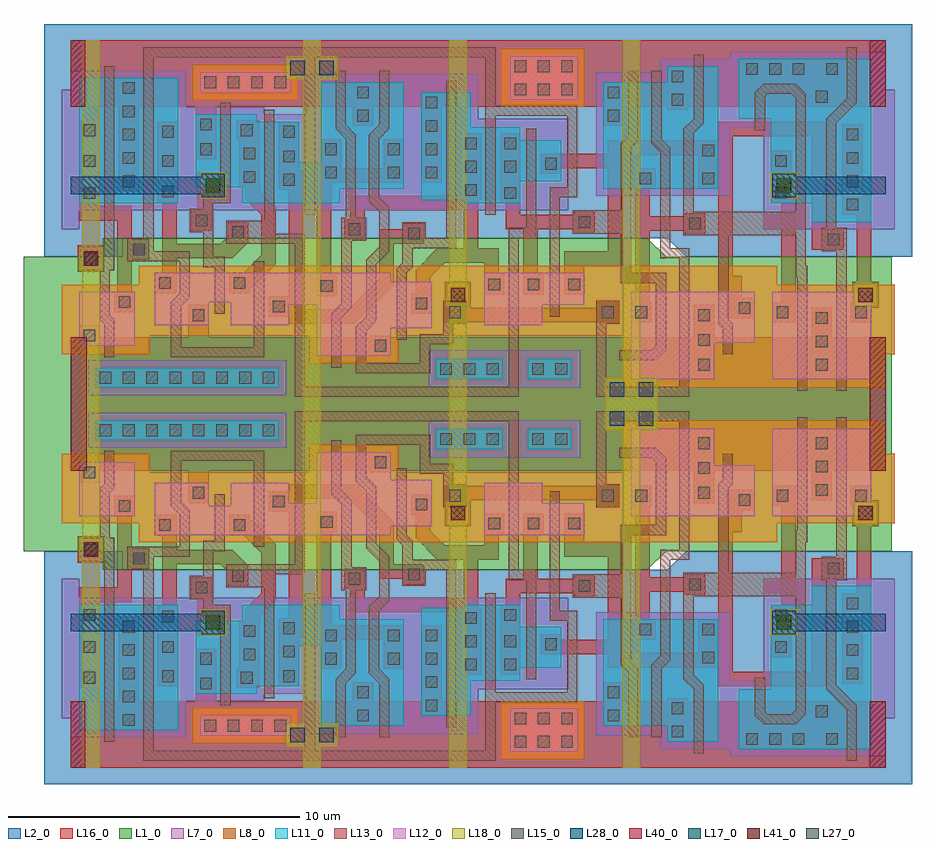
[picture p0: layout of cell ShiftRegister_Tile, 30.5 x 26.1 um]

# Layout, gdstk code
import gdstk
lib = gdstk.Library(unit=1e-6, precision=1e-09)
def R(c, l, rs):  # rectangles x0, y0, x1, y1
    for r in rs: c.add(gdstk.rectangle(r[:2], r[2:], *l))
def A(c, l, x, y, w, h, nx, ny, dx, dy):  # array of equal rectangles
    R(c, l, [(x+i*dx, y+j*dy, x+i*dx+w, y+j*dy+h) for i in range(nx) for j in range(ny)])
def P(c, l, *ps):  # polygons
    for p in ps: c.add(gdstk.Polygon(p, *l))
L1_0 = (1, 0)
L2_0 = (2, 0)
L7_0 = (7, 0)
L8_0 = (8, 0)
L11_0 = (11, 0)
L12_0 = (12, 0)
L13_0 = (13, 0)
L15_0 = (15, 0)
L16_0 = (16, 0)
L17_0 = (17, 0)
L18_0 = (18, 0)
L27_0 = (27, 0)
L28_0 = (28, 0)
L40_0 = (40, 0)
L41_0 = (41, 0)

m2_m1_cdns_739384017653 = lib.new_cell('M2_M1_CDNS_739384017653')
R(m2_m1_cdns_739384017653, L16_0, [(-0.45,-0.45,0.45,0.45)])
R(m2_m1_cdns_739384017653, L17_0, [(-0.25,-0.25,0.25,0.25)])
R(m2_m1_cdns_739384017653, L18_0, [(-0.4,-0.4,0.4,0.4)])

dfcn1 = lib.new_cell('DFCN1')
P(dfcn1, L1_0, [(28.2,5.05),(20.45,5.05),(19.8,5.7),(1.1,5.7),(1.1,5.05),(-1.6,5.05),(-1.6,-0.55),(28.2,-0.55)])
P(dfcn1, L2_0, [(28.9,13.05),(-0.9,13.05),(-0.9,5.05),(1.8,5.05),(1.8,5.7),(20.5,5.7),(21.15,5.05),(28.9,5.05)])
R(dfcn1, L7_0, [(0.6,0.3,7.4,1.5), (12.3,0.55,17.5,1.85)])
P(dfcn1, L7_0, [(-0.3,6),(-0.3,10.8),(0,10.8),(0,11.45),(3.95,11.45),(3.95,10.2),(6.65,10.2),(6.65,9.95),(8.1,9.95),(8.1,11.35),(14,11.35),(14,9.8),(17.1,9.8),(17.1,6.65),(0.3,6.65),(0.3,6)],
  [(23.8,6),(23.8,9.5),(22.65,9.5),(22.65,7.15),(18.05,7.15),(18.05,11.4),(20.25,11.4),(20.25,11.85),(22.65,11.85),(22.65,12.1),(28,12.1),(28,10.8),(28.3,10.8),(28.3,6)])
R(dfcn1, L8_0, [(14.8,10.2,17.65,12.2), (4.2,10.45,7.8,11.65)])
P(dfcn1, L8_0, [(19,0.55),(19,2.35),(11.25,2.35),(11.25,1.4),(8.2,1.4),(8.2,2.35),(2.7,2.35),(2.7,1.7),(-0.3,1.7),(-0.3,4.1),(2.35,4.1),(2.35,4.75),(24.275,4.75),(24.275,4.1),(28.3,4.1),(28.3,1.7),(28,1.7),(28,0.55)])
R(dfcn1, L11_0, [(0.85,0.55,7.15,1.25), (12.55,0.85,14.85,1.55), (15.7,0.85,17.2,1.55), (0.3,6.9,3.7,11.2)])
P(dfcn1, L11_0, [(13.5,6.9),(13.5,7),(12.05,7),(12.05,10.7),(13.75,10.7),(13.75,9.5),(15.45,9.5),(15.45,9.05),(16.85,9.05),(16.85,7.65),(15.45,7.65),(15.45,6.9)],
  [(25.45,6.25),(25.45,6.9),(24.05,6.9),(24.05,9.8),(22.95,9.8),(22.95,11.85),(27.5,11.85),(27.5,6.25)],
  [(5.9,6.9),(5.9,7.45),(4.3,7.45),(4.3,9.95),(6.4,9.95),(6.4,9.7),(7.85,9.7),(7.85,8.3),(8.6,8.3),(8.6,11.05),(11.45,11.05),(11.45,7.4),(9.25,7.4),(9.25,6.9)],
  [(18.3,7.4),(18.3,11.05),(20.5,11.05),(20.5,11.6),(22.25,11.6),(22.25,7.4)])
R(dfcn1, L12_0, [(24.1,0.85,27.5,3.85), (0.3,2,2.2,3.85), (15.1,10.45,17.4,11.95), (4.45,10.7,7.55,11.4)])
P(dfcn1, L12_0, [(19.25,0.85),(19.25,3.85),(23.5,3.85),(23.5,2.1),(22.1,2.1),(22.1,0.85)],
  [(8.45,1.65),(8.45,3.4),(7.5,3.4),(7.5,2.7),(5.5,2.7),(5.5,3.5),(4.75,3.5),(4.75,2.7),(2.9,2.7),(2.9,4.5),(11,4.5),(11,4.2),(12.4,4.2),(12.4,2.6),(11,2.6),(11,1.65)],
  [(14.2,2.7),(14.2,4.5),(17.65,4.5),(17.65,3.4),(16.2,3.4),(16.2,2.7)])
P(dfcn1, L13_0, [(4.55,4.7),(4.55,5.9),(4.1,5.9),(4.1,6.7),(4.55,6.7),(4.55,7.25),(5.15,7.25),(5.15,10.35),(5.5,10.35),(5.5,6.9),(4.9,6.9),(4.9,5.05),(5.3,5.05),(5.3,3.1),(4.95,3.1),(4.95,4.7)],
  [(1.15,1.6),(1.15,2.75),(1,2.9),(1,4.6),(0.3,4.6),(0.3,5.4),(1.15,5.4),(1.15,11.6),(1.5,11.6),(1.5,4.6),(1.35,4.6),(1.35,3.05),(1.5,2.9),(1.5,1.6)],
  [(9.8,1.05),(9.8,2.65),(10.15,3),(10.15,4.95),(10.6,5.4),(10.6,6.6),(10.25,6.95),(10.25,9.25),(10.6,9.6),(10.6,11.45),(10.95,11.45),(10.95,9.45),(10.6,9.1),(10.6,7.1),(10.95,6.75),(10.95,5.25),(10.5,4.8),(10.5,2.85),(10.15,2.5),(10.15,1.4),(12,1.4),(12,2.4),(12.8,2.4),(12.8,3.55),(13.6,3.55),(13.6,2.75),(13.15,2.75),(13.15,2.05),(12.35,2.05),(12.35,1.05)],
  [(18.05,0.25),(18.05,3.55),(18.85,3.55),(18.85,2.75),(18.4,2.75),(18.4,0.6),(20.9,0.6),(20.9,5),(20.25,5),(20.25,8.65),(19.95,8.95),(19.95,11.45),(20.3,11.45),(20.3,9.1),(20.6,8.8),(20.6,5.35),(21.25,5.35),(21.25,0.25)],
  [(8.95,1.25),(8.95,3.1),(9.3,3.45),(9.3,6.4),(9.45,6.4),(9.45,9.1),(9.1,9.45),(9.1,11.45),(9.45,11.45),(9.45,9.6),(9.8,9.25),(9.8,6.4),(10.15,6.4),(10.15,5.6),(9.65,5.6),(9.65,3.3),(9.3,2.95),(9.3,1.25)],
  [(11.2,2.2),(11.2,4.65),(11.4,4.85),(11.4,6.25),(12.2,6.25),(12.2,5.7),(12.9,5.7),(12.9,11.1),(13.25,11.1),(13.25,5.35),(11.75,5.35),(11.75,4.7),(11.55,4.5),(11.55,2.2)],
  [(18.85,1.5),(18.85,1.85),(19.95,1.85),(20.1,2),(20.1,4.15),(18.9,4.15),(18.9,5.85),(17.25,5.85),(17.25,6.65),(18.9,6.65),(18.9,8.95),(19.15,9.2),(19.15,11.45),(19.5,11.45),(19.5,9.05),(19.25,8.8),(19.25,4.5),(20.45,4.5),(20.45,1.85),(20.1,1.5)],
  [(21.05,5.8),(21.05,9.45),(21.4,9.8),(21.4,12),(21.75,12),(21.75,9.65),(21.4,9.3),(21.4,6.6),(24.9,6.6),(24.9,10.5),(24.75,10.65),(23.95,10.65),(23.85,10.55),(23.85,9.4),(23.5,9.4),(23.5,10.7),(23.8,11),(24.9,11),(25.25,10.65),(25.25,4.75),(25.3,4.75),(25.3,0.45),(24.95,0.45),(24.95,4.35),(24.9,4.35),(24.9,5.8),(22.6,5.8),(22.6,2.9),(22.75,2.75),(22.75,1.7),(22.4,1.7),(22.4,2.6),(22.25,2.75),(22.25,5.8)],
  [(25.8,5.25),(25.8,6.05),(25.95,6.05),(25.95,9.8),(26.65,10.5),(26.65,12.25),(27,12.25),(27,10.35),(26.3,9.65),(26.3,6.05),(26.65,6.05),(26.65,0.45),(26.3,0.45),(26.3,5.25)],
  [(1.95,4.9),(1.95,5.7),(2.5,5.7),(2.5,12.25),(14.6,12.25),(14.6,10.25),(17.4,10.25),(17.4,7.1),(16.8,7.1),(16.8,3),(16.45,3),(16.45,7.45),(17.05,7.45),(17.05,9.9),(14.6,9.9),(14.6,6.5),(14.25,6.5),(14.25,11.9),(8.4,11.9),(8.4,6.5),(8.05,6.5),(8.05,11.9),(2.85,11.9),(2.85,5.25),(4.1,5.25),(4.1,3.65),(3.8,3.35),(3.8,1.95),(6.3,1.95),(6.3,4.9),(6.65,4.9),(6.65,1.6),(3.45,1.6),(3.45,3.5),(3.75,3.8),(3.75,4.9)],
  [(5.35,5.5),(5.35,6.3),(6.65,6.3),(6.65,10.1),(7,10.1),(7,5.85),(8.05,5.85),(8.05,0.6),(15.05,0.6),(15.05,6.05),(15.65,6.05),(15.65,9.45),(16,9.45),(16,5.7),(15.4,5.7),(15.4,0.25),(7.7,0.25),(7.7,5.5)])
A(dfcn1, L15_0, 1, 0.7, 0.4, 0.4, 8, 1, 0.8, 0)
A(dfcn1, L15_0, 12.7, 1, 0.4, 0.4, 3, 1, 0.8, 0)
A(dfcn1, L15_0, 21.55, 1.15, 0.4, 0.4, 1, 3, 0, 0.85)
A(dfcn1, L15_0, 25.6, 1.15, 0.4, 0.4, 1, 3, 0, 0.8)
A(dfcn1, L15_0, 26.65, 6.65, 0.4, 0.4, 1, 4, 0, 0.8)
A(dfcn1, L15_0, 13.55, 7.15, 0.4, 0.4, 1, 3, 0, 0.8)
A(dfcn1, L15_0, 1.8, 7.45, 0.4, 0.4, 1, 5, 0, 0.8)
A(dfcn1, L15_0, 12.2, 7.75, 0.4, 0.4, 1, 4, 0, 0.8)
A(dfcn1, L15_0, 15.25, 10.6, 0.4, 0.4, 3, 2, 0.8, 0.8)
A(dfcn1, L15_0, 4.6, 10.85, 0.4, 0.4, 4, 1, 0.8, 0)
A(dfcn1, L15_0, 23.2, 11.3, 0.4, 0.4, 3, 1, 0.8, 0)
R(dfcn1, L15_0, [(15.85,1,16.25,1.4), (16.65,1,17.05,1.4), (10.45,1.8,10.85,2.2), (0.45,2.15,0.85,2.55), (4.2,2.85,4.6,3.25), (13,2.95,13.4,3.35), (18.25,2.95,18.65,3.35), (19.4,2.95,19.8,3.35), (24.25,2.95,24.65,3.35), (26.95,2.95,27.35,3.35), (22.95,3.1,23.35,3.5), (6.95,3.15,7.35,3.55), (11.85,3.25,12.25,3.65), (1.65,3.3,2.05,3.7), (8.6,3.85,9,4.25), (14.35,3.9,14.75,4.3), (15.7,3.9,16.1,4.3), (17.1,3.9,17.5,4.3), (3.05,3.95,3.45,4.35), (5.6,3.95,6,4.35), (0.5,4.8,0.9,5.2), (2.15,5.1,2.55,5.5), (26,5.45,26.4,5.85), (11.6,5.65,12,6.05), (5.55,5.7,5.95,6.1), (9.55,5.8,9.95,6.2), (21.25,6,21.65,6.4), (17.45,6.05,17.85,6.45), (4.3,6.1,4.7,6.5), (0.45,7.05,0.85,7.45), (14.9,7.05,15.3,7.45), (24.2,7.05,24.6,7.45), (3.15,7.1,3.55,7.5), (7.3,7.5,7.7,7.9), (19.55,7.55,19.95,7.95), (21.7,7.55,22.1,7.95), (5.95,7.6,6.35,8), (8.75,7.75,9.15,8.15), (10.9,7.75,11.3,8.15), (14.9,7.95,15.3,8.35), (16.3,8.05,16.7,8.45), (0.45,8.15,0.85,8.55), (3.15,8.15,3.55,8.55), (24.2,8.15,24.6,8.55), (7.3,8.3,7.7,8.7), (5.95,8.4,6.35,8.8), (21.7,8.5,22.1,8.9), (4.45,8.55,4.85,8.95), (8.75,8.55,9.15,8.95), (10.9,8.55,11.3,8.95), (14.9,8.75,15.3,9.15), (3.15,9.15,3.55,9.55), (7.3,9.15,7.7,9.55), (0.45,9.2,0.85,9.6), (5.85,9.2,6.25,9.6), (4.45,9.4,4.85,9.8), (9.85,9.7,10.25,10.1), (18.45,9.7,18.85,10.1), (20.65,10.25,21.05,10.65), (25.6,10.35,26,10.75), (9.85,10.5,10.25,10.9), (18.45,10.5,18.85,10.9), (20.65,11.05,21.05,11.45), (25.95,11.3,26.35,11.7)])
R(dfcn1, L16_0, [(0.25,4.55,1.15,5.45)])
P(dfcn1, L16_0, [(12.85,2.8),(12.85,4.2),(13.75,4.2),(13.75,3.3),(18.1,3.3),(18.1,3.5),(18.8,3.5),(18.8,2.8)],
  [(4.15,5.95),(4.15,6.65),(4.35,6.65),(4.35,7.95),(5.35,7.95),(5.35,7.05),(4.85,7.05),(4.85,5.95)],
  [(24.1,2.8),(24.1,3.5),(24.4,3.5),(24.4,6.9),(24.05,6.9),(24.05,8.7),(24.75,8.7),(24.75,7.95),(24.95,7.95),(24.95,7.05),(24.9,7.05),(24.9,2.8)],
  [(26.8,2.8),(26.8,3.5),(26.85,3.5),(26.85,4.2),(27,4.2),(27,6.5),(26.5,6.5),(26.5,9.6),(27.2,9.6),(27.2,7.2),(27.5,7.2),(27.5,4.2),(27.75,4.2),(27.75,3.3),(27.5,3.3),(27.5,2.8)],
  [(1.65,7.3),(1.65,10.2),(0,10.2),(0,12.5),(28,12.5),(28,10.2),(21.2,10.2),(21.2,10.1),(20.5,10.1),(20.5,10.2),(19,10.2),(19,9.55),(18.3,9.55),(18.3,10.2),(12.75,10.2),(12.75,7.6),(12.05,7.6),(12.05,10.2),(10.4,10.2),(10.4,9.55),(9.7,9.55),(9.7,10.2),(5,10.2),(5,8.4),(4.3,8.4),(4.3,10.2),(2.35,10.2),(2.35,7.3)],
  [(0,0),(0,2.3),(0.3,2.3),(0.3,2.7),(1,2.7),(1,2.3),(4.05,2.3),(4.05,3.4),(4.75,3.4),(4.75,2.3),(10.3,2.3),(10.3,2.35),(11,2.35),(11,2.3),(21.4,2.3),(21.4,3.4),(22.1,3.4),(22.1,2.3),(25.45,2.3),(25.45,3.3),(26.15,3.3),(26.15,2.3),(28,2.3),(28,0)],
  [(19.25,2.8),(19.25,3.5),(19.4,3.5),(19.4,8.1),(20.1,8.1),(20.1,7.4),(19.9,7.4),(19.9,6.45),(21.1,6.45),(21.1,6.55),(21.8,6.55),(21.8,5.85),(21.1,5.85),(21.1,5.95),(19.9,5.95),(19.9,3.5),(19.95,3.5),(19.95,2.8)],
  [(8.45,3.7),(8.45,8.1),(8.6,8.1),(8.6,9.1),(9.3,9.1),(9.3,8.1),(10.75,8.1),(10.75,9.1),(11.45,9.1),(11.45,7.6),(8.95,7.6),(8.95,4.4),(9.15,4.4),(9.15,3.7)],
  [(11.7,3.1),(11.7,3.8),(11.85,3.8),(11.85,4.6),(12.6,5.35),(13.5,5.35),(13.5,6.65),(10.1,6.65),(10.1,5.65),(9.4,5.65),(9.4,6.35),(9.6,6.35),(9.6,7.15),(13.4,7.15),(13.4,9.3),(14.1,9.3),(14.1,7),(14,7),(14,5.35),(14.7,5.35),(14.7,4.45),(14.9,4.45),(14.9,3.75),(14.2,3.75),(14.2,4.85),(12.85,4.85),(12.35,4.35),(12.35,3.8),(12.4,3.8),(12.4,3.1)],
  [(14.95,6),(14.95,6.9),(14.75,6.9),(14.75,9.3),(15.45,9.3),(15.45,6.5),(17.3,6.5),(17.3,6.6),(18,6.6),(18,5.9),(17.3,5.9),(17.3,6),(16.05,6),(16.05,4.45),(16.25,4.45),(16.25,3.75),(15.55,3.75),(15.55,6)],
  [(0.3,6.3),(0.3,9.75),(1,9.75),(1,6.8),(2.1,6.8),(2.1,5.65),(2.7,5.65),(2.7,4.95),(2.1,4.95),(2.1,3.85),(2.2,3.85),(2.2,3.15),(1.5,3.15),(1.5,3.85),(1.6,3.85),(1.6,6.3)],
  [(2.9,3.8),(2.9,4.5),(3.15,4.5),(3.15,6.95),(3,6.95),(3,9.7),(3.7,9.7),(3.7,6.95),(3.65,6.95),(3.65,5.5),(5.15,5.5),(5.4,5.75),(5.4,6.25),(6.1,6.25),(6.1,5.55),(5.55,5),(3.65,5),(3.65,3.8)],
  [(5.45,3.8),(5.45,4.5),(5.95,4.5),(6.55,5.1),(6.55,6.5),(6,7.05),(6,7.45),(5.8,7.45),(5.8,9.05),(5.7,9.05),(5.7,9.75),(6.5,9.75),(6.5,7.3),(7.05,6.75),(7.05,4.8),(6.25,4),(6.15,4),(6.15,3.8)],
  [(7.5,2.75),(7.5,3),(6.8,3),(6.8,3.7),(7.5,3.7),(7.5,7.35),(7.15,7.35),(7.15,9.7),(7.85,9.7),(7.85,8.05),(8,8.05),(8,3.25),(9.55,3.25),(10.6,4.3),(10.6,6),(11.45,6),(11.45,6.2),(12.15,6.2),(12.15,5.55),(12.1,5.5),(11.1,5.5),(11.1,4.05),(9.8,2.75)],
  [(22.55,2.95),(22.55,3.9),(22.25,3.9),(22.25,7.4),(21.55,7.4),(21.55,8.55),(18.95,8.55),(18.95,4.75),(17.65,4.75),(17.65,3.75),(16.95,3.75),(16.95,5.25),(18.45,5.25),(18.45,8.1),(16.85,8.1),(16.85,7.9),(16.15,7.9),(16.15,8.6),(18.45,8.6),(18.45,9.05),(22.25,9.05),(22.25,9.7),(25.95,9.7),(25.95,6),(26.55,6),(26.55,5.3),(25.45,5.3),(25.45,9.2),(22.75,9.2),(22.75,4.4),(23.05,4.4),(23.05,3.65),(23.5,3.65),(23.5,2.95)])
R(dfcn1, L40_0, [(0,0,0.55,2.3), (27.45,0,28,2.3), (0,10.2,0.51,12.5), (27.45,10.2,28,12.5)])
R(dfcn1, L41_0, [(13.05,3.5,13.55,4), (27.05,3.5,27.55,4), (0.45,4.75,0.95,5.25), (4.65,7.25,5.15,7.75), (24.25,7.25,24.75,7.75)])
dfcn1.add(gdstk.Reference(m2_m1_cdns_739384017653, (0.7,5)))
dfcn1.add(gdstk.Reference(m2_m1_cdns_739384017653, (4.9,7.5)))
dfcn1.add(gdstk.Reference(m2_m1_cdns_739384017653, (13.3,3.74)))
dfcn1.add(gdstk.Reference(m2_m1_cdns_739384017653, (27.3,3.75)))
dfcn1.add(gdstk.Reference(m2_m1_cdns_739384017653, (24.5,7.5)))
dfcn1.add(gdstk.Label('QN', (27.3,3.75), layer=41, texttype=0))
dfcn1.add(gdstk.Label('Q', (24.5,7.5), layer=41, texttype=0))
dfcn1.add(gdstk.Label('CDN', (13.3,3.75), layer=41, texttype=0))
dfcn1.add(gdstk.Label('CP', (0.7,5), layer=41, texttype=0))
dfcn1.add(gdstk.Label('D', (4.9,7.5), layer=41, texttype=0))
dfcn1.add(gdstk.Label('DFCN1', (0,0), layer=62, texttype=0))
dfcn1.add(gdstk.Label('VSS', (0.28,1.21), layer=40, texttype=0))
dfcn1.add(gdstk.Label('VDD', (0.22,11.42), layer=40, texttype=0))
dfcn1.add(gdstk.Label('VDD', (27.67,11.42), layer=40, texttype=0))
dfcn1.add(gdstk.Label('VSS', (27.73,1.21), layer=40, texttype=0))
dfcn1.add(gdstk.Label('& SerialNumber 000000', (0.7,0), layer=11, texttype=0))
dfcn1.add(gdstk.Label('& Distributor Vanguard', (0.7,0), layer=11, texttype=0))
dfcn1.add(gdstk.Label('& Metric 350.0', (0.7,0), layer=11, texttype=0))
dfcn1.add(gdstk.Label('& Version 400c', (0.7,0), layer=11, texttype=0))
dfcn1.add(gdstk.Label('& Product tcb773p', (0.7,0), layer=11, texttype=0))
dfcn1.add(gdstk.Label('& Vendor Taiwan Semiconductor Manufacturing Corp.', (0.7,0), layer=11, texttype=0))
dfcn1.add(gdstk.Label('& Vendor Taiwan Semiconductor Manufacturing Corp.', (28.15,0), layer=11, texttype=0))
dfcn1.add(gdstk.Label('& Product tcb773p', (28.15,0), layer=11, texttype=0))
dfcn1.add(gdstk.Label('& Version 400c', (28.15,0), layer=11, texttype=0))
dfcn1.add(gdstk.Label('& Metric 350.0', (28.15,0), layer=11, texttype=0))
dfcn1.add(gdstk.Label('& Distributor Vanguard', (28.15,0), layer=11, texttype=0))
dfcn1.add(gdstk.Label('& SerialNumber 000000', (28.15,0), layer=11, texttype=0))
dfcn1.add(gdstk.Label('& Vendor Taiwan Semiconductor Manufacturing Corp.', (0,0), layer=63, texttype=63))
dfcn1.add(gdstk.Label('& Product tcb773p', (0,0), layer=63, texttype=63))
dfcn1.add(gdstk.Label('& Version 400c', (0,0), layer=63, texttype=63))
dfcn1.add(gdstk.Label('& Metric 350.0', (0,0), layer=63, texttype=63))
dfcn1.add(gdstk.Label('& Distributor Vanguard', (0,0), layer=63, texttype=63))
dfcn1.add(gdstk.Label('& SerialNumber 000000', (0,0), layer=63, texttype=63))

m3_m2_cdns_739384017650 = lib.new_cell('M3_M2_CDNS_739384017650')
R(m3_m2_cdns_739384017650, L18_0, [(-0.45,-0.45,0.45,0.45)])
R(m3_m2_cdns_739384017650, L27_0, [(-0.25,-0.25,0.25,0.25)])
R(m3_m2_cdns_739384017650, L28_0, [(-0.4,-0.4,0.4,0.4)])

m2_m1_cdns_739384017651 = lib.new_cell('M2_M1_CDNS_739384017651')
R(m2_m1_cdns_739384017651, L16_0, [(-0.95,-0.95,0.95,0.95)])
R(m2_m1_cdns_739384017651, L17_0, [(-0.75,-0.75,-0.25,-0.25), (0.25,-0.75,0.75,-0.25), (-0.75,0.25,-0.25,0.75), (0.25,0.25,0.75,0.75)])
R(m2_m1_cdns_739384017651, L18_0, [(-0.9,-0.9,0.9,0.9)])

m2_m1_cdns_739384017652 = lib.new_cell('M2_M1_CDNS_739384017652')
R(m2_m1_cdns_739384017652, L16_0, [(-0.95,-0.45,0.95,0.45)])
R(m2_m1_cdns_739384017652, L17_0, [(-0.75,-0.25,-0.25,0.25), (0.25,-0.25,0.75,0.25)])
R(m2_m1_cdns_739384017652, L18_0, [(-0.9,-0.4,0.9,0.4)])

shiftregister_tile = lib.new_cell('ShiftRegister_Tile')
shiftregister_tile.add(gdstk.FlexPath([(20.87,0.55),(20.87,25.55)], 0.6, ends="flush", simple_path=True, layer=18, datatype=0))  # L18_0
shiftregister_tile.add(gdstk.FlexPath([(9.89,0.55),(9.89,25.55)], 0.6, ends="flush", simple_path=True, layer=18, datatype=0))  # L18_0
shiftregister_tile.add(gdstk.FlexPath([(14.9,0.55),(14.9,25.55)], 0.6, ends="flush", simple_path=True, layer=18, datatype=0))  # L18_0
shiftregister_tile.add(gdstk.FlexPath([(2.3,0.55),(2.3,25.55)], 0.6, ends="flush", simple_path=True, layer=18, datatype=0))  # L18_0
shiftregister_tile.add(gdstk.FlexPath([(26.1,5.55),(29.6,5.55)], 0.6, ends="flush", simple_path=True, layer=28, datatype=0))  # L28_0
shiftregister_tile.add(gdstk.FlexPath([(26.1,20.55),(29.6,20.55)], 0.6, ends="flush", simple_path=True, layer=28, datatype=0))  # L28_0
shiftregister_tile.add(gdstk.FlexPath([(1.6,20.55),(6.45,20.55)], 0.6, ends="flush", simple_path=True, layer=28, datatype=0))  # L28_0
shiftregister_tile.add(gdstk.FlexPath([(1.6,5.55),(6.45,5.55)], 0.6, ends="flush", simple_path=True, layer=28, datatype=0))  # L28_0
r = gdstk.Reference(dfcn1, (1.6,13.05), x_reflection=True); r.repetition = gdstk.Repetition(1, 1, v1=(28,0), v2=(0,-12.5)); shiftregister_tile.add(r)
r = gdstk.Reference(dfcn1, (1.6,13.05)); r.repetition = gdstk.Repetition(1, 1, v1=(28,0), v2=(0,12.5)); shiftregister_tile.add(r)
shiftregister_tile.add(gdstk.Reference(m3_m2_cdns_739384017650, (26.1,5.55)))
shiftregister_tile.add(gdstk.Reference(m3_m2_cdns_739384017650, (26.1,20.55)))
shiftregister_tile.add(gdstk.Reference(m3_m2_cdns_739384017650, (6.5,20.55)))
shiftregister_tile.add(gdstk.Reference(m3_m2_cdns_739384017650, (6.5,5.55)))
shiftregister_tile.add(gdstk.Reference(m2_m1_cdns_739384017651, (20.87,13.05)))
shiftregister_tile.add(gdstk.Reference(m2_m1_cdns_739384017652, (9.89,24.59)))
shiftregister_tile.add(gdstk.Reference(m2_m1_cdns_739384017652, (9.89,1.68)))

lib.write_gds('ShiftRegister_Tile.gds')
